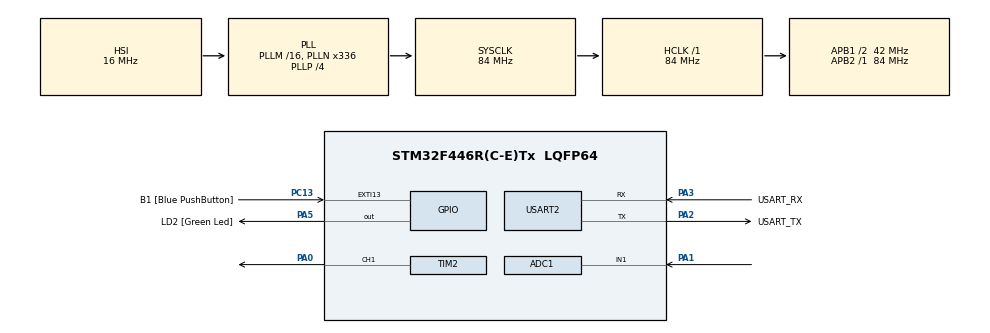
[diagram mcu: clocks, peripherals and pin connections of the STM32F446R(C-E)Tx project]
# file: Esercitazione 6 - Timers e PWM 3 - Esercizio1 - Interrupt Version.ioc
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Mcu.Family=STM32F4
PH0-OSC_IN.Signal=RCC_OSC_IN
RCC.CortexFreq_Value=84000000
PA14.GPIO_Label=TCK
PC13.GPIO_Label=B1 [Blue PushButton]
RCC.SYSCLKSource=RCC_SYSCLKSOURCE_PLLCLK
ProjectManager.StackSize=0x400
NVIC.ADC_IRQn=true\:0\:0\:false\:false\:true\:true\:true
RCC.HCLKFreq_Value=84000000
ADC1.Resolution=ADC_RESOLUTION_8B
RCC.APB2TimFreq_Value=84000000
RCC.AHBFreq_Value=84000000
PH0-OSC_IN.Mode=HSE-External-Oscillator
ADC1.Channel-0\#ChannelRegularConversion=ADC_CHANNEL_1
RCC.HSE_VALUE=8000000
ADC1.ScanConvMode=ENABLE
PC14-OSC32_IN.Mode=LSE-External-Oscillator
PA14.Mode=Serial_Wire
TIM2.Channel-PWM\ Generation1\ CH1=TIM_CHANNEL_1
ADC1.SamplingTime-0\#ChannelRegularConversion=ADC_SAMPLETIME_3CYCLES
RCC.FLatency-AdvancedSettings=FLASH_LATENCY_2
PH1-OSC_OUT.Mode=HSE-External-Oscillator
Mcu.Package=LQFP64
TIM2.Prescaler=83
USART2.VirtualMode=VM_ASYNC
PA2.GPIO_Label=USART_TX
SH.ADCx_IN1.0=ADC1_IN1,IN1
RCC.APB1TimFreq_Value=84000000
PA3.Signal=USART2_RX
PB3.GPIO_Label=SWO
PC15-OSC32_OUT.Mode=LSE-External-Oscillator
ADC1.Rank-0\#ChannelRegularConversion=1
PC13.Signal=GPXTI13
RCC.APB1CLKDivider=RCC_HCLK_DIV2
PC14-OSC32_IN.Signal=RCC_OSC32_IN
PA0-WKUP.Signal=S_TIM2_CH1_ETR
PA3.Mode=Asynchronous
PA13.Signal=SYS_JTMS-SWDIO
ProjectManager.TargetToolchain=STM32CubeIDE
RCC.USBFreq_Value=168000000
PC15-OSC32_OUT.Signal=RCC_OSC32_OUT
PA1.Signal=ADCx_IN1
PA5.Signal=GPIO_Output
board=NUCLEO-F446RE
RCC.VCOOutputFreq_Value=336000000
RCC.APB2Freq_Value=84000000
VP_TIM2_VS_ClockSourceINT.Mode=Internal
PH1-OSC_OUT.Signal=RCC_OSC_OUT
TIM2.Period=99
PA13.Mode=Serial_Wire
Mcu.Name=STM32F446R(C-E)Tx
PA13.GPIO_Label=TMS
PA2.Signal=USART2_TX
RCC.48MHZClocksFreq_Value=84000000
PB3.Signal=SYS_JTDO-SWO
RCC.SYSCLKFreq_VALUE=84000000
ADC1.master=1
PA5.GPIO_Label=LD2 [Green Led]
PC13.GPIO_ModeDefaultEXTI=GPIO_MODE_IT_FALLING
SH.S_TIM2_CH1_ETR.0=TIM2_CH1,PWM Generation1 CH1
PA14.Signal=SYS_JTCK-SWCLK
ProjectManager.HeapSize=0x200
RCC.HSI_VALUE=16000000
RCC.PLLP=RCC_PLLP_DIV4
NVIC.PriorityGroup=NVIC_PRIORITYGROUP_0
ADC1.NbrOfConversionFlag=1
RCC.PLLN=336
PA2.Mode=Asynchronous
RCC.APB1Freq_Value=42000000
PA3.GPIO_Label=USART_RX

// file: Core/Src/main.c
/* USER CODE BEGIN Header */
/**
  ******************************************************************************
  * @file           : main.c
  * @brief          : Main program body
  ******************************************************************************
  * @attention
  *
  * <h2><center>&copy; Copyright (c) 2021 STMicroelectronics.
  * All rights reserved.</center></h2>
  *
  * This software component is licensed by ST under BSD 3-Clause license,
  * the "License"; You may not use this file except in compliance with the
  * License. You may obtain a copy of the License at:
  *                        opensource.org/licenses/BSD-3-Clause
  *
  ******************************************************************************
  */
/* USER CODE END Header */
#include "main.h"

/* USER CODE BEGIN Includes */
#include "custom_lib/ADC_sensor.h"

/* USER CODE END Includes */

ADC_HandleTypeDef hadc1;

TIM_HandleTypeDef htim2;

UART_HandleTypeDef huart2;

/* USER CODE BEGIN PV */

ADC_ChannelConfTypeDef sConfig = {0};

uint16_t dutyCycle;
uint8_t pot;
uint16_t duty_val;
/* USER CODE END PV */

void SystemClock_Config(void);
static void MX_GPIO_Init(void);
static void MX_USART2_UART_Init(void);
static void MX_ADC1_Init(void);
static void MX_TIM2_Init(void);

/* USER CODE BEGIN 0 */
/* ADC ISR Handler*/
void ADC_IRQHandler(void) {
	HAL_ADC_IRQHandler(&hadc1);
	// Re-Start ADC in interrupt Mode
	HAL_ADC_Start_IT(&hadc1) ;
}

void HAL_ADC_ConvCpltCallback(ADC_HandleTypeDef* hadc) {
	pot = getADCraw(&hadc1, &sConfig, ADC_CHANNEL_1, 1, ADC_SAMPLETIME_28CYCLES);
	dutyCycle = pot * 100/255;
    __HAL_TIM_SET_COMPARE(&htim2, TIM_CHANNEL_1, dutyCycle);
    duty_val = __HAL_TIM_GET_COMPARE(&htim2, TIM_CHANNEL_1); // controllo
}
/* USER CODE END 0 */

int main(void)
{

  /* MCU Configuration--------------------------------------------------------*/

  /* Reset of all peripherals, Initializes the Flash interface and the Systick. */
  HAL_Init();

  /* Configure the system clock */
  SystemClock_Config();

  /* Initialize all configured peripherals */
  MX_GPIO_Init();
  MX_USART2_UART_Init();
  MX_ADC1_Init();
  MX_TIM2_Init();
  /* USER CODE BEGIN 2 */
  // Interrupt configuration for ADC
  NVIC_SetPriority(ADC_IRQn, 0);
  NVIC_EnableIRQ(ADC_IRQn);
  // Start ADC in interrupt Mode
  HAL_ADC_Start_IT(&hadc1);

  HAL_TIM_PWM_Start(&htim2, TIM_CHANNEL_1);
  dutyCycle = HAL_TIM_ReadCapturedValue(&htim2, TIM_CHANNEL_1);
  /* USER CODE END 2 */

  /* Infinite loop */
  while (1)
  {

  }
}

void SystemClock_Config(void)
{
  RCC_OscInitTypeDef RCC_OscInitStruct = {0};
  RCC_ClkInitTypeDef RCC_ClkInitStruct = {0};

  /** Configure the main internal regulator output voltage
  */
  __HAL_RCC_PWR_CLK_ENABLE();
  __HAL_PWR_VOLTAGESCALING_CONFIG(PWR_REGULATOR_VOLTAGE_SCALE3);
  /** Initializes the RCC Oscillators according to the specified parameters
  * in the RCC_OscInitTypeDef structure.
  */
  RCC_OscInitStruct.OscillatorType = RCC_OSCILLATORTYPE_HSI;
  RCC_OscInitStruct.HSIState = RCC_HSI_ON;
  RCC_OscInitStruct.HSICalibrationValue = RCC_HSICALIBRATION_DEFAULT;
  RCC_OscInitStruct.PLL.PLLState = RCC_PLL_ON;
  RCC_OscInitStruct.PLL.PLLSource = RCC_PLLSOURCE_HSI;
  RCC_OscInitStruct.PLL.PLLM = 16;
  RCC_OscInitStruct.PLL.PLLN = 336;
  RCC_OscInitStruct.PLL.PLLP = RCC_PLLP_DIV4;
  RCC_OscInitStruct.PLL.PLLQ = 2;
  RCC_OscInitStruct.PLL.PLLR = 2;
  if (HAL_RCC_OscConfig(&RCC_OscInitStruct) != HAL_OK)
  {
    Error_Handler();
  }
  /** Initializes the CPU, AHB and APB buses clocks
  */
  RCC_ClkInitStruct.ClockType = RCC_CLOCKTYPE_HCLK|RCC_CLOCKTYPE_SYSCLK
                              |RCC_CLOCKTYPE_PCLK1|RCC_CLOCKTYPE_PCLK2;
  RCC_ClkInitStruct.SYSCLKSource = RCC_SYSCLKSOURCE_PLLCLK;
  RCC_ClkInitStruct.AHBCLKDivider = RCC_SYSCLK_DIV1;
  RCC_ClkInitStruct.APB1CLKDivider = RCC_HCLK_DIV2;
  RCC_ClkInitStruct.APB2CLKDivider = RCC_HCLK_DIV1;

  if (HAL_RCC_ClockConfig(&RCC_ClkInitStruct, FLASH_LATENCY_2) != HAL_OK)
  {
    Error_Handler();
  }
}

static void MX_ADC1_Init(void)
{

  ADC_ChannelConfTypeDef sConfig = {0};

  /** Configure the global features of the ADC (Clock, Resolution, Data Alignment and number of conversion)
  */
  hadc1.Instance = ADC1;
  hadc1.Init.ClockPrescaler = ADC_CLOCK_SYNC_PCLK_DIV4;
  hadc1.Init.Resolution = ADC_RESOLUTION_8B;
  hadc1.Init.ScanConvMode = ENABLE;
  hadc1.Init.ContinuousConvMode = DISABLE;
  hadc1.Init.DiscontinuousConvMode = DISABLE;
  hadc1.Init.ExternalTrigConvEdge = ADC_EXTERNALTRIGCONVEDGE_NONE;
  hadc1.Init.ExternalTrigConv = ADC_SOFTWARE_START;
  hadc1.Init.DataAlign = ADC_DATAALIGN_RIGHT;
  hadc1.Init.NbrOfConversion = 1;
  hadc1.Init.DMAContinuousRequests = DISABLE;
  hadc1.Init.EOCSelection = ADC_EOC_SINGLE_CONV;
  if (HAL_ADC_Init(&hadc1) != HAL_OK)
  {
    Error_Handler();
  }
  /** Configure for the selected ADC regular channel its corresponding rank in the sequencer and its sample time.
  */
  sConfig.Channel = ADC_CHANNEL_1;
  sConfig.Rank = 1;
  sConfig.SamplingTime = ADC_SAMPLETIME_3CYCLES;
  if (HAL_ADC_ConfigChannel(&hadc1, &sConfig) != HAL_OK)
  {
    Error_Handler();
  }

}

static void MX_TIM2_Init(void)
{

  TIM_ClockConfigTypeDef sClockSourceConfig = {0};
  TIM_MasterConfigTypeDef sMasterConfig = {0};
  TIM_OC_InitTypeDef sConfigOC = {0};

  htim2.Instance = TIM2;
  htim2.Init.Prescaler = 83;
  htim2.Init.CounterMode = TIM_COUNTERMODE_UP;
  htim2.Init.Period = 99;
  htim2.Init.ClockDivision = TIM_CLOCKDIVISION_DIV1;
  htim2.Init.AutoReloadPreload = TIM_AUTORELOAD_PRELOAD_DISABLE;
  if (HAL_TIM_Base_Init(&htim2) != HAL_OK)
  {
    Error_Handler();
  }
  sClockSourceConfig.ClockSource = TIM_CLOCKSOURCE_INTERNAL;
  if (HAL_TIM_ConfigClockSource(&htim2, &sClockSourceConfig) != HAL_OK)
  {
    Error_Handler();
  }
  if (HAL_TIM_PWM_Init(&htim2) != HAL_OK)
  {
    Error_Handler();
  }
  sMasterConfig.MasterOutputTrigger = TIM_TRGO_RESET;
  sMasterConfig.MasterSlaveMode = TIM_MASTERSLAVEMODE_DISABLE;
  if (HAL_TIMEx_MasterConfigSynchronization(&htim2, &sMasterConfig) != HAL_OK)
  {
    Error_Handler();
  }
  sConfigOC.OCMode = TIM_OCMODE_PWM1;
  sConfigOC.Pulse = 0;
  sConfigOC.OCPolarity = TIM_OCPOLARITY_HIGH;
  sConfigOC.OCFastMode = TIM_OCFAST_DISABLE;
  if (HAL_TIM_PWM_ConfigChannel(&htim2, &sConfigOC, TIM_CHANNEL_1) != HAL_OK)
  {
    Error_Handler();
  }
  HAL_TIM_MspPostInit(&htim2);

}

static void MX_USART2_UART_Init(void)
{

  huart2.Instance = USART2;
  huart2.Init.BaudRate = 115200;
  huart2.Init.WordLength = UART_WORDLENGTH_8B;
  huart2.Init.StopBits = UART_STOPBITS_1;
  huart2.Init.Parity = UART_PARITY_NONE;
  huart2.Init.Mode = UART_MODE_TX_RX;
  huart2.Init.HwFlowCtl = UART_HWCONTROL_NONE;
  huart2.Init.OverSampling = UART_OVERSAMPLING_16;
  if (HAL_UART_Init(&huart2) != HAL_OK)
  {
    Error_Handler();
  }

}

static void MX_GPIO_Init(void)
{
  GPIO_InitTypeDef GPIO_InitStruct = {0};

  /* GPIO Ports Clock Enable */
  __HAL_RCC_GPIOC_CLK_ENABLE();
  __HAL_RCC_GPIOH_CLK_ENABLE();
  __HAL_RCC_GPIOA_CLK_ENABLE();
  __HAL_RCC_GPIOB_CLK_ENABLE();

  /*Configure GPIO pin Output Level */
  HAL_GPIO_WritePin(LD2_GPIO_Port, LD2_Pin, GPIO_PIN_RESET);

  /*Configure GPIO pin : B1_Pin */
  GPIO_InitStruct.Pin = B1_Pin;
  GPIO_InitStruct.Mode = GPIO_MODE_IT_FALLING;
  GPIO_InitStruct.Pull = GPIO_NOPULL;
  HAL_GPIO_Init(B1_GPIO_Port, &GPIO_InitStruct);

  /*Configure GPIO pin : LD2_Pin */
  GPIO_InitStruct.Pin = LD2_Pin;
  GPIO_InitStruct.Mode = GPIO_MODE_OUTPUT_PP;
  GPIO_InitStruct.Pull = GPIO_NOPULL;
  GPIO_InitStruct.Speed = GPIO_SPEED_FREQ_LOW;
  HAL_GPIO_Init(LD2_GPIO_Port, &GPIO_InitStruct);

}

void Error_Handler(void)
{
  __disable_irq();
  while (1)
  {
  }
}

/************************ (C) COPYRIGHT STMicroelectronics *****END OF FILE****/
